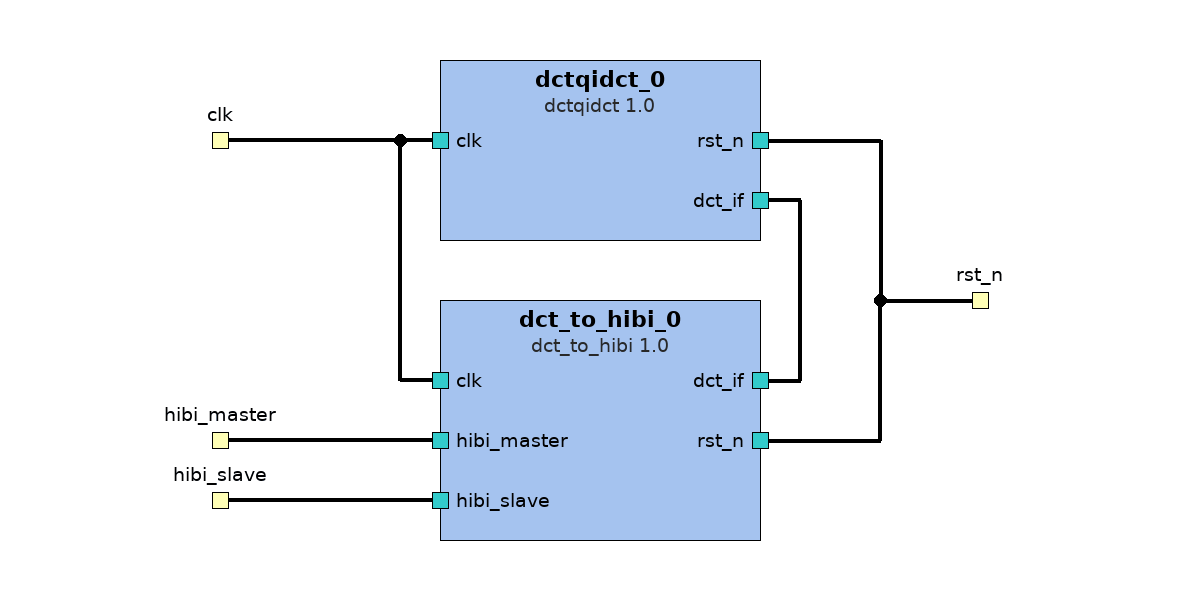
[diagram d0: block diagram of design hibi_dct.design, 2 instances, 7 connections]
<?xml version="1.0" encoding="UTF-8"?>
<!-- Created by Kactus2 - Open source IP-Xact toolset -->
<!-- http://sourceforge.net/projects/kactus2/ -->
<!-- Date: 09.01.2013 -->
<!-- Time: 13:51:03 -->
<spirit:design xmlns:kactus2="http://funbase.cs.tut.fi/" xmlns:spirit="http://www.spiritconsortium.org/XMLSchema/SPIRIT/1.5" xmlns:xsi="http://www.w3.org/2001/XMLSchema-instance" xsi:schemaLocation="http://www.spiritconsortium.org/XMLSchema/SPIRIT/1.5 http://www.spiritconsortium.org/XMLSchema/SPIRIT/1.5/index.xsd"><spirit:vendor>TUT</spirit:vendor><spirit:library>ip.hwp.accelerator</spirit:library>
 <spirit:name>hibi_dct.design</spirit:name><spirit:version>1.0</spirit:version><spirit:componentInstances>
 <spirit:componentInstance><spirit:instanceName>dct_to_hibi_0</spirit:instanceName><spirit:componentRef spirit:vendor="TUT" spirit:library="ip.hwp.accelerator" spirit:name="dct_to_hibi" spirit:version="1.0"/></spirit:componentInstance>
 <spirit:componentInstance><spirit:instanceName>dctqidct_0</spirit:instanceName><spirit:componentRef spirit:vendor="TUT" spirit:library="ip.hwp.accelerator" spirit:name="dctqidct" spirit:version="1.0"/></spirit:componentInstance>
</spirit:componentInstances>
 <spirit:interconnections><spirit:interconnection><spirit:name>dct_to_hibi_0_dct_if_to_dctqidct_0_dct_if</spirit:name><spirit:activeInterface spirit:componentRef="dct_to_hibi_0" spirit:busRef="dct_if"/><spirit:activeInterface spirit:componentRef="dctqidct_0" spirit:busRef="dct_if"/></spirit:interconnection></spirit:interconnections>
 <spirit:hierConnections>
  <spirit:hierConnection spirit:interfaceRef="rst_n"><spirit:interface spirit:componentRef="dctqidct_0" spirit:busRef="rst_n"/></spirit:hierConnection>
  <spirit:hierConnection spirit:interfaceRef="hibi_master"><spirit:interface spirit:componentRef="dct_to_hibi_0" spirit:busRef="hibi_master"/></spirit:hierConnection>
  <spirit:hierConnection spirit:interfaceRef="rst_n"><spirit:interface spirit:componentRef="dct_to_hibi_0" spirit:busRef="rst_n"/></spirit:hierConnection>
  <spirit:hierConnection spirit:interfaceRef="hibi_slave"><spirit:interface spirit:componentRef="dct_to_hibi_0" spirit:busRef="hibi_slave"/></spirit:hierConnection>
  <spirit:hierConnection spirit:interfaceRef="clk"><spirit:interface spirit:componentRef="dct_to_hibi_0" spirit:busRef="clk"/></spirit:hierConnection>
  <spirit:hierConnection spirit:interfaceRef="clk"><spirit:interface spirit:componentRef="dctqidct_0" spirit:busRef="clk"/></spirit:hierConnection>
 </spirit:hierConnections>
</spirit:design>

